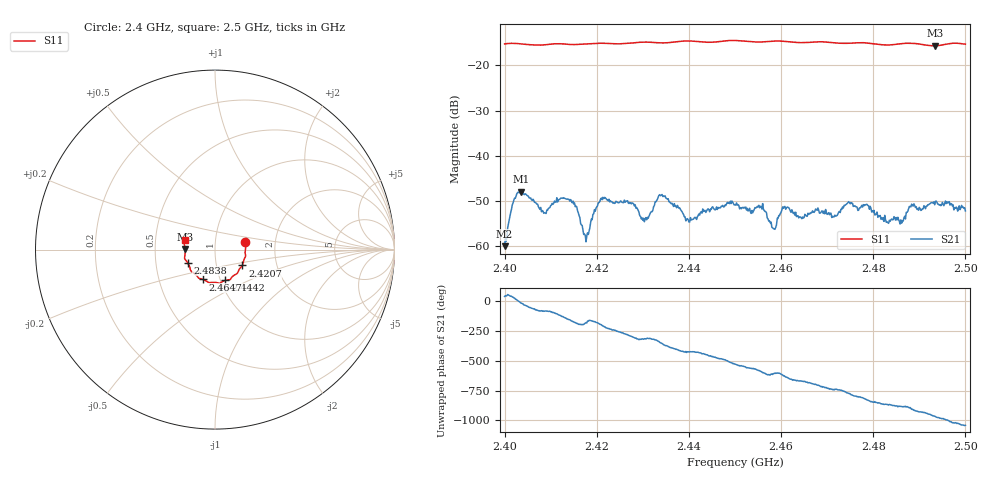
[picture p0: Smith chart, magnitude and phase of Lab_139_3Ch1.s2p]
# Hz S RI R 50
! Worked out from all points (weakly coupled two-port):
!   601 points, 2.4 GHz to 2.5 GHz, reference 50 ohm
!   highest |S21| = -48.05 dB at 2.4035 GHz (marker M1); lowest = -60.1 dB at 2.4 GHz (marker M2)
!   lowest |S11| = -15.6 dB at 2.4935 GHz (marker M3), VSWR 1.40, Z = 35.8 + j0.164 ohm
!   |S11| at or under -10 dB: start of sweep to end of sweep
!   S12 and S22 are empty: the file has one direction only
!   S11 on the Smith chart (normalised r, x): 2.4 GHz: 1.40, +0.12; 2.4207 GHz: 1.33, -0.24; 2.4442 GHz: 1.05, -0.37; 2.4647 GHz: 0.83, -0.29; 2.4838 GHz: 0.73, -0.11; 2.5 GHz: 0.71, +0.07
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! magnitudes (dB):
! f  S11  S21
! 2.4 GHz  -15.2  -60.1
! 2.4035 GHz  -15.2  -48.0
! 2.4085 GHz  -15.4  -52.8
! 2.4143 GHz  -15.3  -49.8
! 2.4167 GHz  -15.3  -55.4
! 2.418 GHz  -15.2  -57.2
! 2.4207 GHz  -15.1  -50.2
! 2.4303 GHz  -14.8  -54.7
! 2.4333 GHz  -15.0  -49.2
! 2.4397 GHz  -14.6  -54.0
! 2.4442 GHz  -14.9  -51.8
! 2.45 GHz  -14.5  -50.9
! 2.4557 GHz  -14.8  -51.4
! 2.4585 GHz  -14.6  -56.3
! 2.4608 GHz  -14.7  -51.3
! 2.4647 GHz  -14.9  -53.6
! 2.4667 GHz  -14.8  -52.7
! 2.475 GHz  -15.1  -50.7
! 2.4833 GHz  -15.5  -55.1
! 2.4838 GHz  -15.4  -54.3
! 2.4935 GHz  -15.6  -50.2
! 2.5 GHz  -15.3  -52.3
